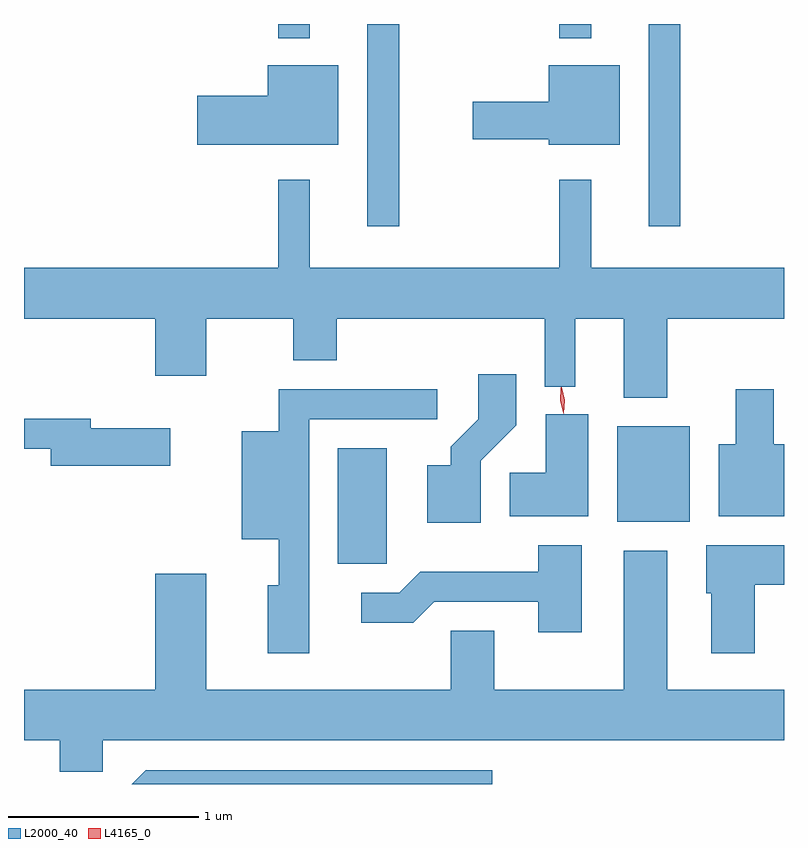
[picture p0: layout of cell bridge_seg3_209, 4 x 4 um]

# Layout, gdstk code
import gdstk
lib = gdstk.Library(unit=1e-6, precision=1e-09)
def R(c, l, rs):  # rectangles x0, y0, x1, y1
    for r in rs: c.add(gdstk.rectangle(r[:2], r[2:], *l))
def P(c, l, *ps):  # polygons
    for p in ps: c.add(gdstk.Polygon(p, *l))
L2000_40 = (2000, 40)
L4165_0 = (4165, 0)

bridge_seg3_209 = lib.new_cell('bridge_seg3_209')
R(bridge_seg3_209, L2000_40, [(955.296,1155.806,955.554,1156.414), (956.766,1156.026,957.149,1156.529), (955.451,1157.583,955.619,1158.647), (956.931,1157.583,957.099,1158.647), (954.981,1158.573,955.149,1158.647), (956.461,1158.573,956.629,1158.647)])
P(bridge_seg3_209, L2000_40, [(956.779,1158.429),(956.406,1158.429),(956.406,1158.239),(956.006,1158.239),(956.006,1158.041),(956.406,1158.041),(956.406,1158.011),(956.779,1158.011)],
  [(955.299,1158.429),(954.926,1158.429),(954.926,1158.269),(954.556,1158.269),(954.556,1158.011),(955.299,1158.011)],
  [(957.029,1157.096),(957.644,1157.096),(957.644,1157.364),(956.629,1157.364),(956.629,1157.828),(956.461,1157.828),(956.461,1157.364),(955.149,1157.364),(955.149,1157.828),(954.981,1157.828),(954.981,1157.364),(953.644,1157.364),(953.644,1157.096),(954.336,1157.096),(954.336,1156.796),(954.604,1156.796),(954.604,1157.096),(955.061,1157.096),(955.061,1156.876),(955.289,1156.876),(955.289,1157.096),(956.386,1157.096),(956.386,1156.738),(956.544,1156.738),(956.544,1157.096),(956.801,1157.096),(956.801,1156.681),(957.029,1156.681)],
  [(956.049,1156.349),(956.234,1156.534),(956.234,1156.804),(956.036,1156.804),(956.036,1156.567),(955.891,1156.422),(955.891,1156.324),(955.766,1156.324),(955.766,1156.021),(956.049,1156.021)],
  [(957.644,1156.434),(957.589,1156.434),(957.589,1156.724),(957.391,1156.724),(957.391,1156.434),(957.301,1156.434),(957.301,1156.056),(957.644,1156.056)],
  [(955.144,1156.566),(955.818,1156.566),(955.818,1156.724),(954.986,1156.724),(954.986,1156.504),(954.791,1156.504),(954.791,1155.936),(954.986,1155.936),(954.986,1155.694),(954.926,1155.694),(954.926,1155.336),(955.144,1155.336)],
  [(956.614,1156.594),(956.391,1156.594),(956.391,1156.284),(956.201,1156.284),(956.201,1156.056),(956.614,1156.056)],
  [(954.414,1156.519),(953.994,1156.519),(953.994,1156.569),(953.644,1156.569),(953.644,1156.411),(953.786,1156.411),(953.786,1156.321),(954.414,1156.321)],
  [(956.579,1155.904),(956.351,1155.904),(956.351,1155.764),(955.729,1155.764),(955.619,1155.654),(955.418,1155.654),(955.418,1155.496),(955.692,1155.496),(955.802,1155.606),(956.351,1155.606),(956.351,1155.446),(956.579,1155.446)],
  [(957.489,1155.696),(957.644,1155.696),(957.644,1155.904),(957.236,1155.904),(957.236,1155.651),(957.261,1155.651),(957.261,1155.336),(957.489,1155.336)],
  [(954.059,1154.876),(957.644,1154.876),(957.644,1155.144),(957.029,1155.144),(957.029,1155.874),(956.801,1155.874),(956.801,1155.144),(956.119,1155.144),(956.119,1155.454),(955.891,1155.454),(955.891,1155.144),(954.604,1155.144),(954.604,1155.754),(954.336,1155.754),(954.336,1155.144),(953.644,1155.144),(953.644,1154.876),(953.831,1154.876),(953.831,1154.711),(954.059,1154.711)],
  [(956.108,1154.719),(954.284,1154.719),(954.212,1154.647),(956.108,1154.647)])
P(bridge_seg3_209, L4165_0, [(956.482,1156.6),(956.466,1156.664),(956.469,1156.731),(956.47,1156.732),(956.47,1156.731),(956.486,1156.666),(956.483,1156.6),(956.483,1156.6)],
  [(956.486,1156.597),(956.485,1156.598),(956.469,1156.665),(956.472,1156.735),(956.472,1156.735),(956.473,1156.735),(956.489,1156.667),(956.486,1156.598)])

lib.write_gds('bridge_seg3_209.gds')
